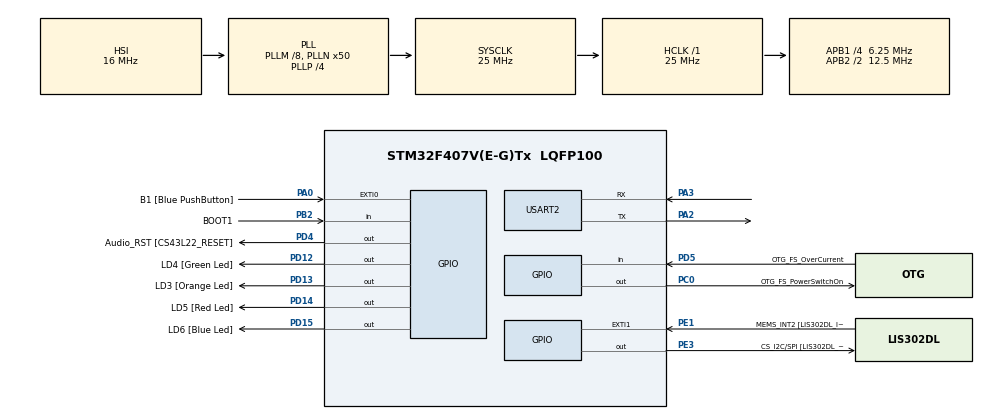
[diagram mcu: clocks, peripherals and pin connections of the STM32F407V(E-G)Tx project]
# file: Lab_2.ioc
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Mcu.Family=STM32F4
Mcu.Name=STM32F407V(E-G)Tx
Mcu.Package=LQFP100
NVIC.PriorityGroup=NVIC_PRIORITYGROUP_4
NVIC.TIM7_IRQn=true\:15\:0\:false\:false\:true\:false\:true\:true
NVIC.TimeBase=TIM7_IRQn
NVIC.TimeBaseIP=TIM7
PA0-WKUP.GPIO_Label=B1 [Blue PushButton]
PA0-WKUP.Signal=GPXTI0
PA10.GPIO_Label=OTG_FS_ID
PA10.GPIO_Mode=GPIO_MODE_AF_PP
PA10.GPIO_PuPd=GPIO_NOPULL
PA10.GPIO_Speed=GPIO_SPEED_FREQ_LOW
PA10.Signal=USB_OTG_FS_ID
PA11.GPIO_Label=OTG_FS_DM
PA11.GPIO_Mode=GPIO_MODE_AF_PP
PA11.GPIO_PuPd=GPIO_NOPULL
PA11.GPIO_Speed=GPIO_SPEED_FREQ_LOW
PA11.Signal=USB_OTG_FS_DM
PA12.GPIO_Label=OTG_FS_DP
PA12.GPIO_Mode=GPIO_MODE_AF_PP
PA12.GPIO_PuPd=GPIO_NOPULL
PA12.GPIO_Speed=GPIO_SPEED_FREQ_LOW
PA12.Signal=USB_OTG_FS_DP
PA13.GPIO_Label=SWDIO
PA13.Mode=Serial_Wire
PA13.Signal=SYS_JTMS-SWDIO
PA14.GPIO_Label=SWCLK
PA14.Mode=Serial_Wire
PA14.Signal=SYS_JTCK-SWCLK
PA2.Mode=Asynchronous
PA2.Signal=USART2_TX
PA3.Mode=Asynchronous
PA3.Signal=USART2_RX
PA4.GPIO_Label=I2S3_WS [CS43L22_LRCK]
PA4.GPIO_Mode=GPIO_MODE_AF_PP
PA4.GPIO_PuPd=GPIO_NOPULL
PA4.GPIO_Speed=GPIO_SPEED_FREQ_LOW
PA4.Signal=I2S3_WS
PA5.GPIO_Label=SPI1_SCK [LIS302DL_SCL/SPC]
PA5.GPIO_Mode=GPIO_MODE_AF_PP
PA5.GPIO_PuPd=GPIO_NOPULL
PA5.GPIO_Speed=GPIO_SPEED_FREQ_LOW
PA5.Signal=SPI1_SCK
PA6.GPIO_Label=SPI1_MISO [LIS302DL_SDO]
PA6.GPIO_Mode=GPIO_MODE_AF_PP
PA6.GPIO_PuPd=GPIO_NOPULL
PA6.GPIO_Speed=GPIO_SPEED_FREQ_LOW
PA6.Signal=SPI1_MISO
PA7.GPIO_Label=SPI1_MOSI [LIS302DL_SDA/SDI/SDO]
PA7.GPIO_Mode=GPIO_MODE_AF_PP
PA7.GPIO_PuPd=GPIO_NOPULL
PA7.GPIO_Speed=GPIO_SPEED_FREQ_LOW
PA7.Signal=SPI1_MOSI
PA9.GPIO_Label=VBUS_FS
PA9.GPIO_Mode=GPIO_MODE_INPUT
PA9.GPIO_PuPd=GPIO_NOPULL
PA9.Signal=USB_OTG_FS_VBUS
PB10.GPIO_Label=CLK_IN [MP45DT02_CLK]
PB10.GPIO_Mode=GPIO_MODE_AF_PP
PB10.GPIO_PuPd=GPIO_NOPULL
PB10.GPIO_Speed=GPIO_SPEED_FREQ_LOW
PB10.Signal=I2S2_CK
PB2.GPIO_Label=BOOT1
PB2.GPIO_Mode=GPIO_MODE_INPUT
PB2.GPIO_PuPd=GPIO_NOPULL
PB2.Signal=GPIO_Input
PB3.GPIO_Label=SWO
PB3.Signal=SYS_JTDO-SWO
PB6.GPIO_Label=Audio_SCL [CS43L22_SCL]
PB6.GPIO_Mode=GPIO_MODE_AF_OD
PB6.GPIO_PuPd=GPIO_NOPULL
PB6.GPIO_Speed=GPIO_SPEED_FREQ_LOW
PB6.Signal=I2C1_SCL
PB9.GPIO_Label=Audio_SDA [CS43L22_SDA]
PB9.GPIO_Mode=GPIO_MODE_AF_OD
PB9.GPIO_PuPd=GPIO_NOPULL
PB9.GPIO_Speed=GPIO_SPEED_FREQ_LOW
PB9.Signal=I2C1_SDA
PC0.GPIO_Label=OTG_FS_PowerSwitchOn
PC0.GPIO_PuPd=GPIO_NOPULL
PC0.GPIO_Speed=GPIO_SPEED_FREQ_LOW
PC0.PinState=GPIO_PIN_SET
PC0.Signal=GPIO_Output
PC10.GPIO_Label=I2S3_SCK [CS43L22_SCLK]
PC10.GPIO_Mode=GPIO_MODE_AF_PP
PC10.GPIO_PuPd=GPIO_NOPULL
PC10.GPIO_Speed=GPIO_SPEED_FREQ_LOW
PC10.Signal=I2S3_CK
PC12.GPIO_Label=I2S3_SD [CS43L22_SDIN]
PC12.GPIO_Mode=GPIO_MODE_AF_PP
PC12.GPIO_PuPd=GPIO_NOPULL
PC12.GPIO_Speed=GPIO_SPEED_FREQ_LOW
PC12.Signal=I2S3_SD
PC14-OSC32_IN.GPIO_Label=PC14-OSC32_IN
PC14-OSC32_IN.Signal=RCC_OSC32_IN
PC15-OSC32_OUT.GPIO_Label=PC15-OSC32_OUT
PC15-OSC32_OUT.Signal=RCC_OSC32_OUT
PC3.GPIO_Label=PDM_OUT [MP45DT02_DOUT]
PC3.GPIO_Mode=GPIO_MODE_AF_PP
PC3.GPIO_PuPd=GPIO_NOPULL
PC3.GPIO_Speed=GPIO_SPEED_FREQ_LOW
PC3.Signal=I2S2_SD
PC7.GPIO_Label=I2S3_MCK [CS43L22_MCLK]
PC7.GPIO_Mode=GPIO_MODE_AF_PP
PC7.GPIO_PuPd=GPIO_NOPULL
PC7.GPIO_Speed=GPIO_SPEED_FREQ_LOW
PC7.Signal=I2S3_MCK
PD12.GPIO_Label=LD4 [Green Led]
PD12.GPIO_PuPd=GPIO_NOPULL
PD12.GPIO_Speed=GPIO_SPEED_FREQ_LOW
PD12.Signal=GPIO_Output
PD13.GPIO_Label=LD3 [Orange Led]
PD13.GPIO_PuPd=GPIO_NOPULL
PD13.GPIO_Speed=GPIO_SPEED_FREQ_LOW
PD13.Signal=GPIO_Output
PD14.GPIO_Label=LD5 [Red Led]
PD14.GPIO_PuPd=GPIO_NOPULL
PD14.GPIO_Speed=GPIO_SPEED_FREQ_LOW
PD14.Signal=GPIO_Output
PD15.GPIO_Label=LD6 [Blue Led]
PD15.GPIO_PuPd=GPIO_NOPULL
PD15.GPIO_Speed=GPIO_SPEED_FREQ_LOW
PD15.Signal=GPIO_Output
PD4.GPIO_Label=Audio_RST [CS43L22_RESET]
PD4.GPIO_PuPd=GPIO_NOPULL
PD4.GPIO_Speed=GPIO_SPEED_FREQ_LOW
PD4.Signal=GPIO_Output
PD5.GPIO_Label=OTG_FS_OverCurrent
PD5.GPIO_Mode=GPIO_MODE_INPUT
PD5.GPIO_PuPd=GPIO_NOPULL
PD5.Signal=GPIO_Input
PE1.GPIO_Label=MEMS_INT2 [LIS302DL_INT2]
PE1.GPIO_ModeDefaultEXTI=GPIO_MODE_EVT_RISING
PE1.GPIO_PuPd=GPIO_NOPULL
PE1.Signal=GPXTI1
PE3.GPIO_Label=CS_I2C/SPI [LIS302DL_CS_I2C/SPI]
PE3.GPIO_PuPd=GPIO_NOPULL
PE3.GPIO_Speed=GPIO_SPEED_FREQ_LOW
PE3.Signal=GPIO_Output
PH0-OSC_IN.GPIO_Label=PH0-OSC_IN
PH0-OSC_IN.Signal=RCC_OSC_IN
PH1-OSC_OUT.GPIO_Label=PH1-OSC_OUT
PH1-OSC_OUT.Signal=RCC_OSC_OUT
ProjectManager.HeapSize=0x200
ProjectManager.StackSize=0x400
ProjectManager.TargetToolchain=STM32CubeIDE
RCC.48MHZClocksFreq_Value=14285714.285714285
RCC.AHBFreq_Value=25000000
RCC.APB1CLKDivider=RCC_HCLK_DIV4
RCC.APB1Freq_Value=6250000
RCC.APB1TimFreq_Value=12500000
RCC.APB2CLKDivider=RCC_HCLK_DIV2
RCC.APB2Freq_Value=12500000
RCC.APB2TimFreq_Value=25000000
RCC.CortexFreq_Value=25000000
RCC.HCLKFreq_Value=25000000
RCC.HSE_VALUE=8000000
RCC.HSI_VALUE=16000000
RCC.LSE_VALUE=32768
RCC.PLLM=8
RCC.PLLN=50
RCC.PLLP=RCC_PLLP_DIV4
RCC.PLLQ=7
RCC.SYSCLKFreq_VALUE=25000000
RCC.SYSCLKSource=RCC_SYSCLKSOURCE_PLLCLK
RCC.VCOOutputFreq_Value=100000000
USART2.VirtualMode=VM_ASYNC
VP_SYS_VS_tim7.Mode=TIM7
board=STM32F407G-DISC1

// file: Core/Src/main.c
/* USER CODE BEGIN Header */
/**
  ******************************************************************************
  * @file           : main.c
  * @brief          : Main program body
  ******************************************************************************
  * @attention
  *
  * Copyright (c) 2026 STMicroelectronics.
  * All rights reserved.
  *
  * This software is licensed under terms that can be found in the LICENSE file
  * in the root directory of this software component.
  * If no LICENSE file comes with this software, it is provided AS-IS.
  *
  ******************************************************************************
  */
/* USER CODE END Header */
#include "main.h"

/* USER CODE BEGIN PD */
#define Red_LED_Pin   GPIO_PIN_14
#define Green_LED_Pin GPIO_PIN_12
/* USER CODE END PD */

UART_HandleTypeDef huart2;

void SystemClock_Config(void);
static void MX_GPIO_Init(void);
static void MX_USART2_UART_Init(void);
/* USER CODE BEGIN PFP */

void USART_Test(void *pvParameters){
	uint32_t Monitortimer = 400;
	char MonitorTest[30];
	char num[15];
	int i = 0;
	while(1){
		memset(MonitorTest, '\0', sizeof(MonitorTest));
		memset(num, '\0', sizeof(num));
		itoa(i, num, 10);
		strcat(num, " ");
		sprintf(MonitorTest, "The point is %s\n\r", num);
		HAL_UART_Transmit(&huart2, (uint8_t *)MonitorTest, strlen(MonitorTest), 0xffff);
		vTaskDelay(Monitortimer);
		Monitortimer += 1;
		i += 1;
	}
}

void TaskMonitor_App(void *pvParameters)
{
	for(;;)
	{
		Taskmonitor();
		vTaskDelay(1000);
	}
}

void Red_LED_App(void *pvParameters)
{
	uint32_t Redtimer = 800;
	for(;;)
	{
		HAL_GPIO_TogglePin(GPIOD, Red_LED_Pin);
		vTaskDelay(Redtimer);
		Redtimer+=1;
	}
}

void Green_LED_App(void *pvParameters)
{
	uint32_t Greentimer = 1000;
	for(;;)
	{
		HAL_GPIO_TogglePin(GPIOD, Green_LED_Pin);
		vTaskDelay(Greentimer);
		Greentimer+=2;
	}
}

void Delay_App(void *pvParameters)
{
	int delayflag=0;
	uint32_t delaytime;
	while(1)
	{
		if(delayflag==0)
		{
			delaytime = 1000;
			delayflag=1;
		}
		else
		{
			delaytime=0xFFFFFFFF;
		}

		vTaskDelay(delaytime);
	}
}
/* USER CODE END PFP */

int main(void)
{

  /* MCU Configuration--------------------------------------------------------*/

  /* Reset of all peripherals, Initializes the Flash interface and the Systick. */
  HAL_Init();

  /* Configure the system clock */
  SystemClock_Config();

  /* Initialize all configured peripherals */
  MX_GPIO_Init();
  MX_USART2_UART_Init();
  /* USER CODE BEGIN 2 */
  //xTaskCreate(USART_Test, "USART Task", 256, NULL, 2, NULL);
  xTaskCreate(Red_LED_App, "Red_LED", 128, NULL, 1, NULL);
  xTaskCreate(Green_LED_App, "Green_LED", 128, NULL, 1, NULL);
  xTaskCreate(Delay_App, "Delay_App", 128, NULL, 14, NULL);
  xTaskCreate(TaskMonitor_App, "TaskMonitor", 256, NULL, 3, NULL);
  vTaskStartScheduler();
  /* USER CODE END 2 */

  /* Infinite loop */
  while (1)
  {

  }
}

void SystemClock_Config(void)
{
  RCC_OscInitTypeDef RCC_OscInitStruct = {0};
  RCC_ClkInitTypeDef RCC_ClkInitStruct = {0};

  /** Configure the main internal regulator output voltage
  */
  __HAL_RCC_PWR_CLK_ENABLE();
  __HAL_PWR_VOLTAGESCALING_CONFIG(PWR_REGULATOR_VOLTAGE_SCALE1);

  /** Initializes the RCC Oscillators according to the specified parameters
  * in the RCC_OscInitTypeDef structure.
  */
  RCC_OscInitStruct.OscillatorType = RCC_OSCILLATORTYPE_HSI;
  RCC_OscInitStruct.HSIState = RCC_HSI_ON;
  RCC_OscInitStruct.HSICalibrationValue = RCC_HSICALIBRATION_DEFAULT;
  RCC_OscInitStruct.PLL.PLLState = RCC_PLL_ON;
  RCC_OscInitStruct.PLL.PLLSource = RCC_PLLSOURCE_HSI;
  RCC_OscInitStruct.PLL.PLLM = 8;
  RCC_OscInitStruct.PLL.PLLN = 50;
  RCC_OscInitStruct.PLL.PLLP = RCC_PLLP_DIV4;
  RCC_OscInitStruct.PLL.PLLQ = 7;
  if (HAL_RCC_OscConfig(&RCC_OscInitStruct) != HAL_OK)
  {
    Error_Handler();
  }

  /** Initializes the CPU, AHB and APB buses clocks
  */
  RCC_ClkInitStruct.ClockType = RCC_CLOCKTYPE_HCLK|RCC_CLOCKTYPE_SYSCLK
                              |RCC_CLOCKTYPE_PCLK1|RCC_CLOCKTYPE_PCLK2;
  RCC_ClkInitStruct.SYSCLKSource = RCC_SYSCLKSOURCE_PLLCLK;
  RCC_ClkInitStruct.AHBCLKDivider = RCC_SYSCLK_DIV1;
  RCC_ClkInitStruct.APB1CLKDivider = RCC_HCLK_DIV4;
  RCC_ClkInitStruct.APB2CLKDivider = RCC_HCLK_DIV2;

  if (HAL_RCC_ClockConfig(&RCC_ClkInitStruct, FLASH_LATENCY_0) != HAL_OK)
  {
    Error_Handler();
  }
}

static void MX_USART2_UART_Init(void)
{

  huart2.Instance = USART2;
  huart2.Init.BaudRate = 115200;
  huart2.Init.WordLength = UART_WORDLENGTH_8B;
  huart2.Init.StopBits = UART_STOPBITS_1;
  huart2.Init.Parity = UART_PARITY_NONE;
  huart2.Init.Mode = UART_MODE_TX_RX;
  huart2.Init.HwFlowCtl = UART_HWCONTROL_NONE;
  huart2.Init.OverSampling = UART_OVERSAMPLING_16;
  if (HAL_UART_Init(&huart2) != HAL_OK)
  {
    Error_Handler();
  }

}

static void MX_GPIO_Init(void)
{
  GPIO_InitTypeDef GPIO_InitStruct = {0};

  /* GPIO Ports Clock Enable */
  __HAL_RCC_GPIOE_CLK_ENABLE();
  __HAL_RCC_GPIOC_CLK_ENABLE();
  __HAL_RCC_GPIOH_CLK_ENABLE();
  __HAL_RCC_GPIOA_CLK_ENABLE();
  __HAL_RCC_GPIOB_CLK_ENABLE();
  __HAL_RCC_GPIOD_CLK_ENABLE();

  /*Configure GPIO pin Output Level */
  HAL_GPIO_WritePin(CS_I2C_SPI_GPIO_Port, CS_I2C_SPI_Pin, GPIO_PIN_RESET);

  /*Configure GPIO pin Output Level */
  HAL_GPIO_WritePin(OTG_FS_PowerSwitchOn_GPIO_Port, OTG_FS_PowerSwitchOn_Pin, GPIO_PIN_SET);

  /*Configure GPIO pin Output Level */
  HAL_GPIO_WritePin(GPIOD, LD4_Pin|LD3_Pin|LD5_Pin|LD6_Pin
                          |Audio_RST_Pin, GPIO_PIN_RESET);

  /*Configure GPIO pin : CS_I2C_SPI_Pin */
  GPIO_InitStruct.Pin = CS_I2C_SPI_Pin;
  GPIO_InitStruct.Mode = GPIO_MODE_OUTPUT_PP;
  GPIO_InitStruct.Pull = GPIO_NOPULL;
  GPIO_InitStruct.Speed = GPIO_SPEED_FREQ_LOW;
  HAL_GPIO_Init(CS_I2C_SPI_GPIO_Port, &GPIO_InitStruct);

  /*Configure GPIO pin : OTG_FS_PowerSwitchOn_Pin */
  GPIO_InitStruct.Pin = OTG_FS_PowerSwitchOn_Pin;
  GPIO_InitStruct.Mode = GPIO_MODE_OUTPUT_PP;
  GPIO_InitStruct.Pull = GPIO_NOPULL;
  GPIO_InitStruct.Speed = GPIO_SPEED_FREQ_LOW;
  HAL_GPIO_Init(OTG_FS_PowerSwitchOn_GPIO_Port, &GPIO_InitStruct);

  /*Configure GPIO pin : PDM_OUT_Pin */
  GPIO_InitStruct.Pin = PDM_OUT_Pin;
  GPIO_InitStruct.Mode = GPIO_MODE_AF_PP;
  GPIO_InitStruct.Pull = GPIO_NOPULL;
  GPIO_InitStruct.Speed = GPIO_SPEED_FREQ_LOW;
  GPIO_InitStruct.Alternate = GPIO_AF5_SPI2;
  HAL_GPIO_Init(PDM_OUT_GPIO_Port, &GPIO_InitStruct);

  /*Configure GPIO pin : B1_Pin */
  GPIO_InitStruct.Pin = B1_Pin;
  GPIO_InitStruct.Mode = GPIO_MODE_IT_RISING;
  GPIO_InitStruct.Pull = GPIO_NOPULL;
  HAL_GPIO_Init(B1_GPIO_Port, &GPIO_InitStruct);

  /*Configure GPIO pin : I2S3_WS_Pin */
  GPIO_InitStruct.Pin = I2S3_WS_Pin;
  GPIO_InitStruct.Mode = GPIO_MODE_AF_PP;
  GPIO_InitStruct.Pull = GPIO_NOPULL;
  GPIO_InitStruct.Speed = GPIO_SPEED_FREQ_LOW;
  GPIO_InitStruct.Alternate = GPIO_AF6_SPI3;
  HAL_GPIO_Init(I2S3_WS_GPIO_Port, &GPIO_InitStruct);

  /*Configure GPIO pins : SPI1_SCK_Pin SPI1_MISO_Pin SPI1_MOSI_Pin */
  GPIO_InitStruct.Pin = SPI1_SCK_Pin|SPI1_MISO_Pin|SPI1_MOSI_Pin;
  GPIO_InitStruct.Mode = GPIO_MODE_AF_PP;
  GPIO_InitStruct.Pull = GPIO_NOPULL;
  GPIO_InitStruct.Speed = GPIO_SPEED_FREQ_LOW;
  GPIO_InitStruct.Alternate = GPIO_AF5_SPI1;
  HAL_GPIO_Init(GPIOA, &GPIO_InitStruct);

  /*Configure GPIO pin : BOOT1_Pin */
  GPIO_InitStruct.Pin = BOOT1_Pin;
  GPIO_InitStruct.Mode = GPIO_MODE_INPUT;
  GPIO_InitStruct.Pull = GPIO_NOPULL;
  HAL_GPIO_Init(BOOT1_GPIO_Port, &GPIO_InitStruct);

  /*Configure GPIO pin : CLK_IN_Pin */
  GPIO_InitStruct.Pin = CLK_IN_Pin;
  GPIO_InitStruct.Mode = GPIO_MODE_AF_PP;
  GPIO_InitStruct.Pull = GPIO_NOPULL;
  GPIO_InitStruct.Speed = GPIO_SPEED_FREQ_LOW;
  GPIO_InitStruct.Alternate = GPIO_AF5_SPI2;
  HAL_GPIO_Init(CLK_IN_GPIO_Port, &GPIO_InitStruct);

  /*Configure GPIO pins : LD4_Pin LD3_Pin LD5_Pin LD6_Pin
                           Audio_RST_Pin */
  GPIO_InitStruct.Pin = LD4_Pin|LD3_Pin|LD5_Pin|LD6_Pin
                          |Audio_RST_Pin;
  GPIO_InitStruct.Mode = GPIO_MODE_OUTPUT_PP;
  GPIO_InitStruct.Pull = GPIO_NOPULL;
  GPIO_InitStruct.Speed = GPIO_SPEED_FREQ_LOW;
  HAL_GPIO_Init(GPIOD, &GPIO_InitStruct);

  /*Configure GPIO pins : I2S3_MCK_Pin I2S3_SCK_Pin I2S3_SD_Pin */
  GPIO_InitStruct.Pin = I2S3_MCK_Pin|I2S3_SCK_Pin|I2S3_SD_Pin;
  GPIO_InitStruct.Mode = GPIO_MODE_AF_PP;
  GPIO_InitStruct.Pull = GPIO_NOPULL;
  GPIO_InitStruct.Speed = GPIO_SPEED_FREQ_LOW;
  GPIO_InitStruct.Alternate = GPIO_AF6_SPI3;
  HAL_GPIO_Init(GPIOC, &GPIO_InitStruct);

  /*Configure GPIO pin : VBUS_FS_Pin */
  GPIO_InitStruct.Pin = VBUS_FS_Pin;
  GPIO_InitStruct.Mode = GPIO_MODE_INPUT;
  GPIO_InitStruct.Pull = GPIO_NOPULL;
  HAL_GPIO_Init(VBUS_FS_GPIO_Port, &GPIO_InitStruct);

  /*Configure GPIO pins : OTG_FS_ID_Pin OTG_FS_DM_Pin OTG_FS_DP_Pin */
  GPIO_InitStruct.Pin = OTG_FS_ID_Pin|OTG_FS_DM_Pin|OTG_FS_DP_Pin;
  GPIO_InitStruct.Mode = GPIO_MODE_AF_PP;
  GPIO_InitStruct.Pull = GPIO_NOPULL;
  GPIO_InitStruct.Speed = GPIO_SPEED_FREQ_LOW;
  GPIO_InitStruct.Alternate = GPIO_AF10_OTG_FS;
  HAL_GPIO_Init(GPIOA, &GPIO_InitStruct);

  /*Configure GPIO pin : OTG_FS_OverCurrent_Pin */
  GPIO_InitStruct.Pin = OTG_FS_OverCurrent_Pin;
  GPIO_InitStruct.Mode = GPIO_MODE_INPUT;
  GPIO_InitStruct.Pull = GPIO_NOPULL;
  HAL_GPIO_Init(OTG_FS_OverCurrent_GPIO_Port, &GPIO_InitStruct);

  /*Configure GPIO pins : Audio_SCL_Pin Audio_SDA_Pin */
  GPIO_InitStruct.Pin = Audio_SCL_Pin|Audio_SDA_Pin;
  GPIO_InitStruct.Mode = GPIO_MODE_AF_OD;
  GPIO_InitStruct.Pull = GPIO_NOPULL;
  GPIO_InitStruct.Speed = GPIO_SPEED_FREQ_LOW;
  GPIO_InitStruct.Alternate = GPIO_AF4_I2C1;
  HAL_GPIO_Init(GPIOB, &GPIO_InitStruct);

  /*Configure GPIO pin : MEMS_INT2_Pin */
  GPIO_InitStruct.Pin = MEMS_INT2_Pin;
  GPIO_InitStruct.Mode = GPIO_MODE_EVT_RISING;
  GPIO_InitStruct.Pull = GPIO_NOPULL;
  HAL_GPIO_Init(MEMS_INT2_GPIO_Port, &GPIO_InitStruct);

}

void HAL_TIM_PeriodElapsedCallback(TIM_HandleTypeDef *htim)
{
  if (htim->Instance == TIM7) {
    HAL_IncTick();
  }
}

void Error_Handler(void)
{
  __disable_irq();
  while (1)
  {
  }
}
